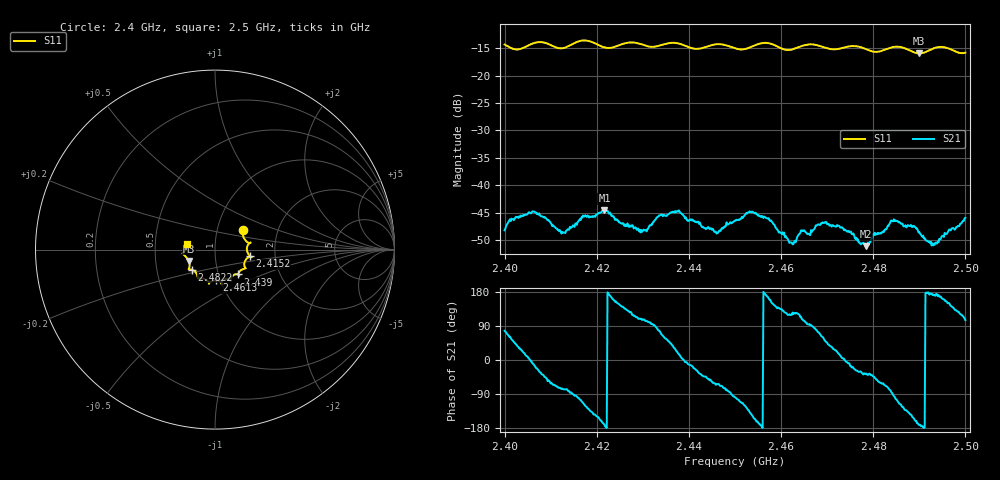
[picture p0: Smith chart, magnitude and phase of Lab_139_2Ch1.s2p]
# Hz S RI R 50
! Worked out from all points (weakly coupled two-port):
!   601 points, 2.4 GHz to 2.5 GHz, reference 50 ohm
!   highest |S21| = -44.61 dB at 2.4217 GHz (marker M1); lowest = -51.1 dB at 2.4783 GHz (marker M2)
!   lowest |S11| = -15.9 dB at 2.49 GHz (marker M3), VSWR 1.38, Z = 37 - j4.83 ohm
!   |S11| at or under -10 dB: start of sweep to end of sweep
!   S12 and S22 are empty: the file has one direction only
!   S11 on the Smith chart (normalised r, x): 2.4 GHz: 1.33, +0.31; 2.4152 GHz: 1.48, -0.11; 2.439 GHz: 1.24, -0.36; 2.4613 GHz: 0.96, -0.34; 2.4822 GHz: 0.76, -0.17; 2.5 GHz: 0.72, +0.05
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2.4e9  0.1565 0.1119  0.000862 0.00377  0 0  0 0
2.406333e9  0.1948 0.0371  0.00563 -0.00118  0 0  0 0
2.412667e9  0.1782 -0.00479  0.000848 -0.00359  0 0  0 0
2.415167e9  0.195 -0.0363  -0.000313 -0.00414  0 0  0 0
2.416667e9  0.2046 -0.0423  -0.00159 -0.00483  0 0  0 0
2.421667e9  0.1723 -0.0559  -0.00582 -0.000903  0 0  0 0
2.429667e9  0.1618 -0.1067  -0.00124 0.0037  0 0  0 0
2.433333e9  0.1324 -0.1319  0.001 0.00506  0 0  0 0
2.439e9  0.1285 -0.1385  0.00518 -0.000152  0 0  0 0
2.446e9  0.0856 -0.1736  0.0016 -0.00324  0 0  0 0
2.45e9  0.0692 -0.1638  -0.000664 -0.00471  0 0  0 0
2.454e9  0.0353 -0.1836  -0.00493 -0.00266  0 0  0 0
2.461333e9  0.00756 -0.1714  -0.00167 0.00282  0 0  0 0
2.466667e9  -0.0337 -0.1902  -2.39e-06 0.00374  0 0  0 0
2.4695e9  -0.0395 -0.1762  0.00285 0.00359  0 0  0 0
2.478333e9  -0.0981 -0.1454  0.00221 -0.00167  0 0  0 0
2.482167e9  -0.1283 -0.1119  0.0018 -0.00332  0 0  0 0
2.483333e9  -0.1394 -0.1102  0.00109 -0.00411  0 0  0 0
2.485e9  -0.1473 -0.1104  -0.00112 -0.00456  0 0  0 0
2.49e9  -0.1464 -0.0637  -0.00368 -0.000545  0 0  0 0
2.493167e9  -0.1761 -0.0271  -0.00289 0.000407  0 0  0 0
2.5e9  -0.1587 0.0331  -0.00134 0.00486  0 0  0 0
